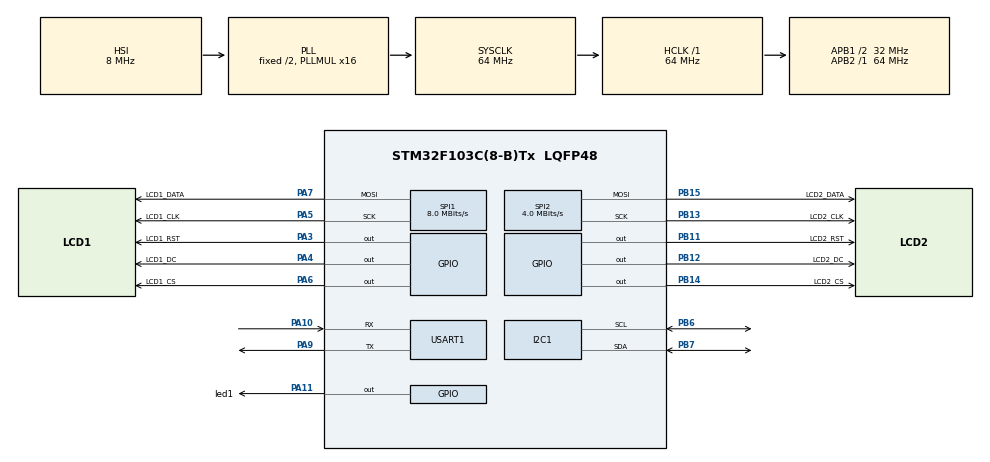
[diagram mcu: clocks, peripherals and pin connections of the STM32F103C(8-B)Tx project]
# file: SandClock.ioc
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I2C1.I2C_Mode=I2C_Fast
Mcu.Family=STM32F1
Mcu.Name=STM32F103C(8-B)Tx
Mcu.Package=LQFP48
NVIC.PriorityGroup=NVIC_PRIORITYGROUP_4
NVIC.TIM1_UP_IRQn=true\:0\:0\:false\:false\:true\:true\:true\:true
PA10.Mode=Asynchronous
PA10.Signal=USART1_RX
PA11.GPIO_Label=led1
PA11.Signal=GPIO_Output
PA3.GPIO_Label=LCD1_RST
PA3.Signal=GPIO_Output
PA4.GPIO_Label=LCD1_DC
PA4.Signal=GPIO_Output
PA5.GPIO_Label=LCD1_CLK
PA5.Mode=TX_Only_Simplex_Unidirect_Master
PA5.Signal=SPI1_SCK
PA6.GPIO_Label=LCD1_CS
PA6.Signal=GPIO_Output
PA7.GPIO_Label=LCD1_DATA
PA7.Mode=TX_Only_Simplex_Unidirect_Master
PA7.Signal=SPI1_MOSI
PA9.Mode=Asynchronous
PA9.Signal=USART1_TX
PB11.GPIO_Label=LCD2_RST
PB11.Signal=GPIO_Output
PB12.GPIO_Label=LCD2_DC
PB12.Signal=GPIO_Output
PB13.GPIO_Label=LCD2_CLK
PB13.Mode=TX_Only_Simplex_Unidirect_Master
PB13.Signal=SPI2_SCK
PB14.GPIO_Label=LCD2_CS
PB14.Signal=GPIO_Output
PB15.GPIO_Label=LCD2_DATA
PB15.Mode=TX_Only_Simplex_Unidirect_Master
PB15.Signal=SPI2_MOSI
PB6.Mode=I2C
PB6.Signal=I2C1_SCL
PB7.Mode=I2C
PB7.Signal=I2C1_SDA
ProjectManager.HeapSize=0x200
ProjectManager.StackSize=0x400
ProjectManager.TargetToolchain=STM32CubeIDE
RCC.AHBFreq_Value=64000000
RCC.APB1CLKDivider=RCC_HCLK_DIV2
RCC.APB1Freq_Value=32000000
RCC.APB1TimFreq_Value=64000000
RCC.APB2Freq_Value=64000000
RCC.APB2TimFreq_Value=64000000
RCC.HCLKFreq_Value=64000000
RCC.PLLMUL=RCC_PLL_MUL16
RCC.SYSCLKFreq_VALUE=64000000
RCC.SYSCLKSource=RCC_SYSCLKSOURCE_PLLCLK
RCC.USBFreq_Value=64000000
SPI1.BaudRatePrescaler=SPI_BAUDRATEPRESCALER_8
SPI1.CalculateBaudRate=8.0 MBits/s
SPI1.Direction=SPI_DIRECTION_2LINES
SPI1.Mode=SPI_MODE_MASTER
SPI1.VirtualType=VM_MASTER
SPI2.BaudRatePrescaler=SPI_BAUDRATEPRESCALER_8
SPI2.CalculateBaudRate=4.0 MBits/s
SPI2.Direction=SPI_DIRECTION_2LINES
SPI2.Mode=SPI_MODE_MASTER
SPI2.VirtualType=VM_MASTER
TIM1.Period=7999
TIM1.Prescaler=0
USART1.VirtualMode=VM_ASYNC
VP_SYS_VS_ND.Mode=No_Debug
VP_TIM1_VS_ClockSourceINT.Mode=Internal
board=custom

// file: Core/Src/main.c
/* USER CODE BEGIN Header */
/**
  ******************************************************************************
  * @file           : main.c
  * @brief          : Main program body
  ******************************************************************************
  * @attention
  *
  * Copyright (c) 2024 STMicroelectronics.
  * All rights reserved.
  *
  * This software is licensed under terms that can be found in the LICENSE file
  * in the root directory of this software component.
  * If no LICENSE file comes with this software, it is provided AS-IS.
  *
  ******************************************************************************
  */
/* USER CODE END Header */
#include "main.h"
#include "i2c.h"
#include "spi.h"
#include "tim.h"
#include "usart.h"
#include "gpio.h"

/* USER CODE BEGIN Includes */
#include "lcd5110.h"
#include <string.h>
#include <stdio.h>
#include "mpu6050.h"
#include "SandClockF1rset.h"
/* USER CODE END Includes */

void SystemClock_Config(void);

/* USER CODE BEGIN 0 */
LCD5110_display lcd1;
LCD5110_display lcd2;
MPU6050_t MPU6050;
SandClock clock;
// Global variable to track timer expiration
volatile uint32_t elapsed_time_s = 0;
volatile uint32_t time = 0;

// Callback function for timer interrupt
void HAL_TIM_PeriodElapsedCallback(TIM_HandleTypeDef *htim)
{
    if (htim->Instance == TIM1)  // Check if the interrupt is from TIM1
    {
        elapsed_time_s++;
    }
}
//void print_arr(uint8_t arr[84][48], LCD5110_conf* lcd){
//	for (int i = 0; i < 84; i++){
//		  for (int j = 0; j < 48; j++){
//			  LCD5110_putpix(i, j, arr[i][j], &lcd);
//		  }
//	  }
//	  LCD5110_refresh(&lcd);
//
//}

void LCD5110_arr_out(uint8_t arr[ROWS][COLS], int match, LCD5110_display *lcd){
  for (int i = 0; i < COLS; i++) {
    for (int j = 0; j < ROWS; j++) {
        LCD5110_putpix(18+i, 47-j, arr[j][i], &lcd->hw_conf);
    }
  }
  LCD5110_refresh(lcd);
}
void LCD5110_arr_out_bottom(uint8_t arr[ROWS][COLS], int match, LCD5110_display *lcd){
  for (int i = 0; i < COLS; i++) {
    for (int j = 0; j < ROWS; j++) {
        LCD5110_putpix(18+i, j, arr[j][i], &lcd->hw_conf);
    }
  }
  LCD5110_refresh(lcd);
}

/* USER CODE END 0 */

int main(void)
{

  /* MCU Configuration--------------------------------------------------------*/

  /* Reset of all peripherals, Initializes the Flash interface and the Systick. */
  HAL_Init();

  /* Configure the system clock */
  SystemClock_Config();

  /* Initialize all configured peripherals */
  MX_GPIO_Init();
  MX_SPI1_Init();
  MX_SPI2_Init();
  MX_TIM1_Init();
  MX_USART1_UART_Init();
  MX_I2C1_Init();
  /* USER CODE BEGIN 2 */
  lcd1.hw_conf.spi_handle = &hspi1;
  lcd1.hw_conf.spi_cs_pin =  LCD1_CS_Pin;
  lcd1.hw_conf.spi_cs_port = LCD1_CS_GPIO_Port;
  lcd1.hw_conf.rst_pin =  LCD1_RST_Pin;
  lcd1.hw_conf.rst_port = LCD1_RST_GPIO_Port;
  lcd1.hw_conf.dc_pin =  LCD1_DC_Pin;
  lcd1.hw_conf.dc_port = LCD1_DC_GPIO_Port;
  lcd1.def_scr = lcd5110_def_scr;
  LCD5110_init(&lcd1.hw_conf, LCD5110_NORMAL_MODE, 0x40, 2, 3);

  while(MPU6050_Init(&hi2c1)==1);

  lcd2.hw_conf.spi_handle = &hspi2;
  lcd2.hw_conf.spi_cs_pin =  LCD2_CS_Pin;
  lcd2.hw_conf.spi_cs_port = LCD2_CS_GPIO_Port;
  lcd2.hw_conf.rst_pin =  LCD2_RST_Pin;
  lcd2.hw_conf.rst_port = LCD2_RST_GPIO_Port;
  lcd2.hw_conf.dc_pin =  LCD2_DC_Pin;
  lcd2.hw_conf.dc_port = LCD2_DC_GPIO_Port;
  lcd2.def_scr = lcd5110_def_scr;
  LCD5110_init(&lcd2.hw_conf, LCD5110_NORMAL_MODE, 0x40, 2, 3);

//  time = 10120000;

  generate_displays(&clock);

//  HAL_TIM_Base_Start_IT(&htim1);
//  LCD5110_clear_scr(&lcd1);
//  LCD5110_clear_scr(&lcd1);
//  LCD5110_arr_out(sand, 1, &lcd1);
  //  LLCD5110_refreshCD5110_array(5, 5, 40, 40, &arr, &lcd1.hw_conf);
//  LCD5110_fill_region(5, 5, 40, 40, 1, &lcd1.hw_conf);

//  (&lcd1);
//  uint8_t message1[50];
  /* USER CODE END 2 */

  /* Infinite loop */
  /* USER CODE BEGIN WHILE */
  int temp = 1;
  while (1)
  {
    /* USER CODE END WHILE */

    /* USER CODE BEGIN 3 */
//	  if (elapsed_time_s %1000 == 0){
		  MPU6050_Read_All(&hi2c1, &MPU6050);
//		  LCD5110_clear_scr(&lcd1);
//		  LCD5110_set_cursor(0, 0, &lcd1);
//		  char message1[50];
//		  sprintf(message1, "%0.2f x,\n %0.2f y,\n %0.2f z\n",MPU6050.Ax, MPU6050.Ay, MPU6050.Az);
//		  LCD5110_print(message1, BLACK, &lcd1);
//		  MPU6050_Read_Accel(&hi2c1, &MPU6050);
		  if (temp > 0 && MPU6050.Az < 0){
			  temp = -1;
			  drawLines(clock.upper_screen, 0);
			  rotate(clock.upper_screen);
			  rotate(clock.bottom_screen);
			  drawLines(clock.bottom_screen, 1);
		  }
		  if (temp < 0 && MPU6050.Az > 0){
			  temp = 1;
			  rotate(clock.upper_screen);
			  drawLines(clock.upper_screen, 1);
			  drawLines(clock.bottom_screen, 0);
			  rotate(clock.bottom_screen);
		  }

		  if (temp >0){
			  sandTick(clock.upper_screen, clock.bottom_screen);
			  update(clock.upper_screen);
			  updateBottom(clock.bottom_screen);
			  LCD5110_clear_scr(&lcd1);
			  LCD5110_clear_scr(&lcd2);
			  drawLines(clock.upper_screen, 0);
			  LCD5110_arr_out(clock.upper_screen, 1, &lcd2);
			  drawLines(clock.upper_screen, 1);
			  LCD5110_arr_out_bottom(clock.bottom_screen, 1, &lcd1);
		  }
		  if (temp < 0){
			  sandTick(clock.bottom_screen, clock.upper_screen);
			  update(clock.bottom_screen);
			  updateBottom(clock.upper_screen);
			  LCD5110_clear_scr(&lcd1);
			  LCD5110_clear_scr(&lcd2);
			  LCD5110_arr_out_bottom(clock.upper_screen, 1, &lcd2);
			  drawLines(clock.bottom_screen, 0);
			  LCD5110_arr_out(clock.bottom_screen, 1, &lcd1);
			  drawLines(clock.bottom_screen, 1);
		  }
//	  }

//	  if (elapsed_time_s >= time){
//		  HAL_TIM_Base_Stop_IT(&htim1);
//	  }
		  HAL_Delay(100);
  }
  /* USER CODE END 3 */
}

void SystemClock_Config(void)
{
  RCC_OscInitTypeDef RCC_OscInitStruct = {0};
  RCC_ClkInitTypeDef RCC_ClkInitStruct = {0};

  /** Initializes the RCC Oscillators according to the specified parameters
  * in the RCC_OscInitTypeDef structure.
  */
  RCC_OscInitStruct.OscillatorType = RCC_OSCILLATORTYPE_HSI;
  RCC_OscInitStruct.HSIState = RCC_HSI_ON;
  RCC_OscInitStruct.HSICalibrationValue = RCC_HSICALIBRATION_DEFAULT;
  RCC_OscInitStruct.PLL.PLLState = RCC_PLL_ON;
  RCC_OscInitStruct.PLL.PLLSource = RCC_PLLSOURCE_HSI_DIV2;
  RCC_OscInitStruct.PLL.PLLMUL = RCC_PLL_MUL16;
  if (HAL_RCC_OscConfig(&RCC_OscInitStruct) != HAL_OK)
  {
    Error_Handler();
  }

  /** Initializes the CPU, AHB and APB buses clocks
  */
  RCC_ClkInitStruct.ClockType = RCC_CLOCKTYPE_HCLK|RCC_CLOCKTYPE_SYSCLK
                              |RCC_CLOCKTYPE_PCLK1|RCC_CLOCKTYPE_PCLK2;
  RCC_ClkInitStruct.SYSCLKSource = RCC_SYSCLKSOURCE_PLLCLK;
  RCC_ClkInitStruct.AHBCLKDivider = RCC_SYSCLK_DIV1;
  RCC_ClkInitStruct.APB1CLKDivider = RCC_HCLK_DIV2;
  RCC_ClkInitStruct.APB2CLKDivider = RCC_HCLK_DIV1;

  if (HAL_RCC_ClockConfig(&RCC_ClkInitStruct, FLASH_LATENCY_2) != HAL_OK)
  {
    Error_Handler();
  }
}

void Error_Handler(void)
{
  __disable_irq();
  while (1)
  {
  }
}
